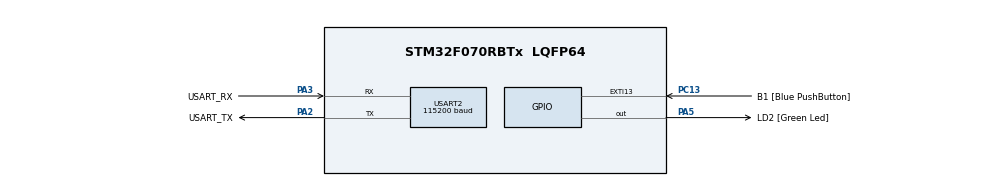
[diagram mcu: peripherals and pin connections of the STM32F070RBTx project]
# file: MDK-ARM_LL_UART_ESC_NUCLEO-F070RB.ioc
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Mcu.Family=STM32F0
Mcu.Name=STM32F070RBTx
Mcu.Package=LQFP64
NVIC.USART2_IRQn=true\:0\:0\:false\:false\:true\:true\:true
PA13.GPIO_Label=TMS
PA13.Mode=Serial_Wire
PA13.Signal=SYS_SWDIO
PA14.GPIO_Label=TCK
PA14.Mode=Serial_Wire
PA14.Signal=SYS_SWCLK
PA2.GPIO_Label=USART_TX
PA2.Mode=Asynchronous
PA2.Signal=USART2_TX
PA3.GPIO_Label=USART_RX
PA3.Mode=Asynchronous
PA3.Signal=USART2_RX
PA5.GPIO_Label=LD2 [Green Led]
PA5.Signal=GPIO_Output
PC13.GPIO_Label=B1 [Blue PushButton]
PC13.GPIO_ModeDefaultEXTI=GPIO_MODE_IT_FALLING
PC13.Signal=GPXTI13
PC14-OSC32_IN.GPIO_Label=RCC_OSC32_IN
PC14-OSC32_IN.Mode=LSE-External-Oscillator
PC14-OSC32_IN.Signal=RCC_OSC32_IN
PC15-OSC32_OUT.GPIO_Label=RCC_OSC32_OUT
PC15-OSC32_OUT.Mode=LSE-External-Oscillator
PC15-OSC32_OUT.Signal=RCC_OSC32_OUT
PF0-OSC_IN.GPIO_Label=RCC_OSC_IN
PF0-OSC_IN.Mode=HSE-External-Clock-Source
PF0-OSC_IN.Signal=RCC_OSC_IN
PF1-OSC_OUT.GPIO_Label=RCC_OSC_OUT
PF1-OSC_OUT.Signal=RCC_OSC_OUT
ProjectManager.HeapSize=0x200
ProjectManager.StackSize=0x400
ProjectManager.TargetToolchain=MDK-ARM V5.27
RCC.AHBFreq_Value=48000000
RCC.APB1Freq_Value=48000000
RCC.APB1TimFreq_Value=48000000
RCC.HCLKFreq_Value=48000000
RCC.PLLMUL=RCC_PLL_MUL6
RCC.SYSCLKFreq_VALUE=48000000
RCC.SYSCLKSource=RCC_SYSCLKSOURCE_PLLCLK
USART2.BaudRate=115200
USART2.VirtualMode-Asynchronous=VM_ASYNC
board=NUCLEO-F070RB

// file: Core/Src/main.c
/* USER CODE BEGIN Header */
/**
  ******************************************************************************
  * @file           : main.c
  * @brief          : Main program body
  ******************************************************************************
  * @attention
  *
  * <h2><center>&copy; Copyright (c) 2020 STMicroelectronics.
  * All rights reserved.</center></h2>
  *
  * This software component is licensed by ST under BSD 3-Clause license,
  * the "License"; You may not use this file except in compliance with the
  * License. You may obtain a copy of the License at:
  *                        opensource.org/licenses/BSD-3-Clause
  *
  ******************************************************************************
  */
/* USER CODE END Header */
#include "main.h"

/* USER CODE BEGIN Includes */
#include "trice.h"
#include "triceEscFifo.h"
#include "triceInterfaceUART.h"
/* USER CODE END Includes */

/* USER CODE BEGIN PV */
int milliSecond = 0;
/* USER CODE END PV */

void SystemClock_Config(void);
static void MX_GPIO_Init(void);
static void MX_USART2_UART_Init(void);

int main(void)
{
  /* USER CODE BEGIN 1 */
#ifdef ENCRYPT
    InitXteaTable();
#endif
  /* USER CODE END 1 */

  /* MCU Configuration--------------------------------------------------------*/

  /* Reset of all peripherals, Initializes the Flash interface and the Systick. */

  LL_APB1_GRP2_EnableClock(LL_APB1_GRP2_PERIPH_SYSCFG);
  LL_APB1_GRP1_EnableClock(LL_APB1_GRP1_PERIPH_PWR);

  /* System interrupt init*/

  /* Configure the system clock */
  SystemClock_Config();

  /* USER CODE BEGIN SysInit */
    SysTick->CTRL |= SysTick_CTRL_TICKINT_Msk; // enable SysTick interrupt
  /* USER CODE END SysInit */

  /* Initialize all configured peripherals */
  MX_GPIO_Init();
  MX_USART2_UART_Init();
  /* USER CODE BEGIN 2 */
    LL_USART_EnableIT_RXNE(TRICE_UART); // enable UART2 interrupt
    TRICE0( Id(62429), "s:                                        \ns:   ARM-MDK_LL_UART_ESC_NUCLEO-F070RB    \ns:                                        \n\n");
/* USER CODE END 2 */

  /* Infinite loop */
  /* USER CODE BEGIN WHILE */
    while (1)
    {
        static int lastTricesTime = 0;
        { // send some trices every few ms
            if( milliSecond >= lastTricesTime + 100 ){
                static int index = 0;
                TRICE16_1( Id(55132),"MSG: triceEscFifoMaxDepth = %d\n", triceEscFifoMaxDepth );
                TRICE0( Id(44249), "Hallo Ralf!\n" );
                TRICE64_2(Id(16627), "tst:TRICE64_2 %x %16d\n", 0x1020304050607080, index); // 4
                triceCheckSet(index%10);
                index++;
                lastTricesTime = milliSecond;
            }
        }
    /* USER CODE END WHILE */

    }
}

void SystemClock_Config(void)
{
  LL_FLASH_SetLatency(LL_FLASH_LATENCY_1);
  while(LL_FLASH_GetLatency() != LL_FLASH_LATENCY_1)
  {
  }
  LL_RCC_HSI_Enable();

   /* Wait till HSI is ready */
  while(LL_RCC_HSI_IsReady() != 1)
  {

  }
  LL_RCC_HSI_SetCalibTrimming(16);
  LL_RCC_PLL_ConfigDomain_SYS(LL_RCC_PLLSOURCE_HSI, LL_RCC_PLL_MUL_6, LL_RCC_PREDIV_DIV_1);
  LL_RCC_PLL_Enable();

   /* Wait till PLL is ready */
  while(LL_RCC_PLL_IsReady() != 1)
  {

  }
  LL_RCC_SetAHBPrescaler(LL_RCC_SYSCLK_DIV_1);
  LL_RCC_SetAPB1Prescaler(LL_RCC_APB1_DIV_1);
  LL_RCC_SetSysClkSource(LL_RCC_SYS_CLKSOURCE_PLL);

   /* Wait till System clock is ready */
  while(LL_RCC_GetSysClkSource() != LL_RCC_SYS_CLKSOURCE_STATUS_PLL)
  {

  }
  LL_Init1msTick(48000000);
  LL_SetSystemCoreClock(48000000);
}

static void MX_USART2_UART_Init(void)
{

  LL_USART_InitTypeDef USART_InitStruct = {0};

  LL_GPIO_InitTypeDef GPIO_InitStruct = {0};

  /* Peripheral clock enable */
  LL_APB1_GRP1_EnableClock(LL_APB1_GRP1_PERIPH_USART2);

  LL_AHB1_GRP1_EnableClock(LL_AHB1_GRP1_PERIPH_GPIOA);
  /**USART2 GPIO Configuration
  PA2   ------> USART2_TX
  PA3   ------> USART2_RX
  */
  GPIO_InitStruct.Pin = USART_TX_Pin;
  GPIO_InitStruct.Mode = LL_GPIO_MODE_ALTERNATE;
  GPIO_InitStruct.Speed = LL_GPIO_SPEED_FREQ_HIGH;
  GPIO_InitStruct.OutputType = LL_GPIO_OUTPUT_PUSHPULL;
  GPIO_InitStruct.Pull = LL_GPIO_PULL_NO;
  GPIO_InitStruct.Alternate = LL_GPIO_AF_1;
  LL_GPIO_Init(USART_TX_GPIO_Port, &GPIO_InitStruct);

  GPIO_InitStruct.Pin = USART_RX_Pin;
  GPIO_InitStruct.Mode = LL_GPIO_MODE_ALTERNATE;
  GPIO_InitStruct.Speed = LL_GPIO_SPEED_FREQ_HIGH;
  GPIO_InitStruct.OutputType = LL_GPIO_OUTPUT_PUSHPULL;
  GPIO_InitStruct.Pull = LL_GPIO_PULL_NO;
  GPIO_InitStruct.Alternate = LL_GPIO_AF_1;
  LL_GPIO_Init(USART_RX_GPIO_Port, &GPIO_InitStruct);

  /* USART2 interrupt Init */
  NVIC_SetPriority(USART2_IRQn, 0);
  NVIC_EnableIRQ(USART2_IRQn);

  USART_InitStruct.BaudRate = 115200;
  USART_InitStruct.DataWidth = LL_USART_DATAWIDTH_8B;
  USART_InitStruct.StopBits = LL_USART_STOPBITS_1;
  USART_InitStruct.Parity = LL_USART_PARITY_NONE;
  USART_InitStruct.TransferDirection = LL_USART_DIRECTION_TX_RX;
  USART_InitStruct.HardwareFlowControl = LL_USART_HWCONTROL_NONE;
  USART_InitStruct.OverSampling = LL_USART_OVERSAMPLING_16;
  LL_USART_Init(USART2, &USART_InitStruct);
  LL_USART_DisableIT_CTS(USART2);
  LL_USART_ConfigAsyncMode(USART2);
  LL_USART_Enable(USART2);

}

static void MX_GPIO_Init(void)
{
  LL_EXTI_InitTypeDef EXTI_InitStruct = {0};
  LL_GPIO_InitTypeDef GPIO_InitStruct = {0};

  /* GPIO Ports Clock Enable */
  LL_AHB1_GRP1_EnableClock(LL_AHB1_GRP1_PERIPH_GPIOC);
  LL_AHB1_GRP1_EnableClock(LL_AHB1_GRP1_PERIPH_GPIOF);
  LL_AHB1_GRP1_EnableClock(LL_AHB1_GRP1_PERIPH_GPIOA);

  /**/
  LL_GPIO_ResetOutputPin(LD2_GPIO_Port, LD2_Pin);

  /**/
  LL_SYSCFG_SetEXTISource(LL_SYSCFG_EXTI_PORTC, LL_SYSCFG_EXTI_LINE13);

  /**/
  LL_GPIO_SetPinPull(B1_GPIO_Port, B1_Pin, LL_GPIO_PULL_NO);

  /**/
  LL_GPIO_SetPinMode(B1_GPIO_Port, B1_Pin, LL_GPIO_MODE_INPUT);

  /**/
  EXTI_InitStruct.Line_0_31 = LL_EXTI_LINE_13;
  EXTI_InitStruct.LineCommand = ENABLE;
  EXTI_InitStruct.Mode = LL_EXTI_MODE_IT;
  EXTI_InitStruct.Trigger = LL_EXTI_TRIGGER_FALLING;
  LL_EXTI_Init(&EXTI_InitStruct);

  /**/
  GPIO_InitStruct.Pin = LD2_Pin;
  GPIO_InitStruct.Mode = LL_GPIO_MODE_OUTPUT;
  GPIO_InitStruct.Speed = LL_GPIO_SPEED_FREQ_LOW;
  GPIO_InitStruct.OutputType = LL_GPIO_OUTPUT_PUSHPULL;
  GPIO_InitStruct.Pull = LL_GPIO_PULL_NO;
  LL_GPIO_Init(LD2_GPIO_Port, &GPIO_InitStruct);

}

void Error_Handler(void)
{
}

/************************ (C) COPYRIGHT STMicroelectronics *****END OF FILE****/
